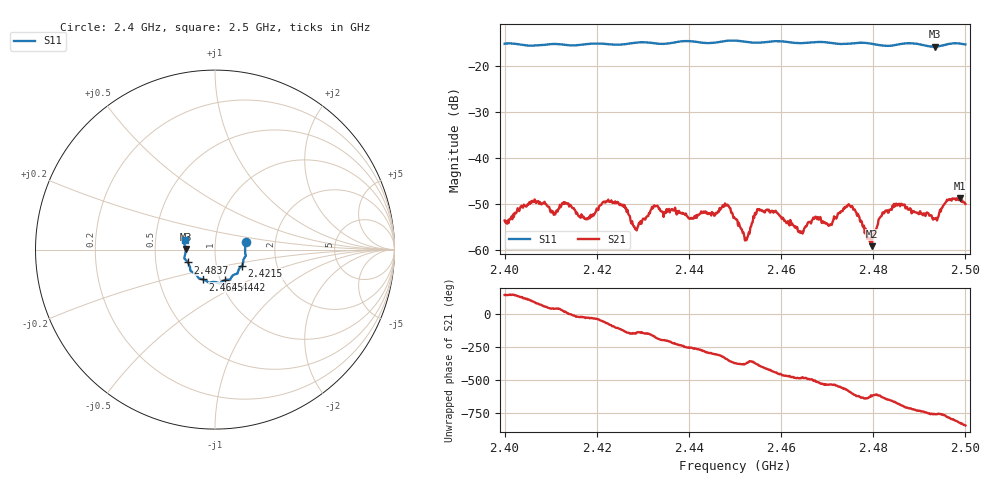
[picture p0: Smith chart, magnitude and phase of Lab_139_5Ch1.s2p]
# Hz S RI R 50
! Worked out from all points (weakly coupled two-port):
!   601 points, 2.4 GHz to 2.5 GHz, reference 50 ohm
!   highest |S21| = -48.78 dB at 2.4988 GHz (marker M1); lowest = -59.3 dB at 2.4797 GHz (marker M2)
!   lowest |S11| = -15.7 dB at 2.4933 GHz (marker M3), VSWR 1.39, Z = 35.9 + j0.0956 ohm
!   |S11| at or under -10 dB: start of sweep to end of sweep
!   S12 and S22 are empty: the file has one direction only
!   S11 on the Smith chart (normalised r, x): 2.4 GHz: 1.41, +0.12; 2.4215 GHz: 1.33, -0.25; 2.4442 GHz: 1.05, -0.37; 2.4645 GHz: 0.83, -0.29; 2.4837 GHz: 0.73, -0.11; 2.5 GHz: 0.71, +0.07
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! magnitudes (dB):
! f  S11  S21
! 2.4 GHz  -15.1  -53.7
! 2.4062 GHz  -15.5  -49.5
! 2.4167 GHz  -15.3  -52.3
! 2.4215 GHz  -15.1  -49.5
! 2.4258 GHz  -15.2  -50.7
! 2.4285 GHz  -14.9  -55.5
! 2.4333 GHz  -15.1  -50.7
! 2.4442 GHz  -15.0  -52.3
! 2.4482 GHz  -14.5  -50.4
! 2.45 GHz  -14.4  -53.2
! 2.4523 GHz  -14.7  -57.6
! 2.4553 GHz  -14.9  -51.5
! 2.4645 GHz  -15.0  -56.1
! 2.4667 GHz  -14.8  -53.7
! 2.4707 GHz  -14.9  -54.7
! 2.475 GHz  -15.1  -50.5
! 2.4797 GHz  -15.1  -59.3
! 2.4833 GHz  -15.6  -51.9
! 2.4837 GHz  -15.5  -51.3
! 2.4933 GHz  -15.7  -53.2
! 2.4988 GHz  -15.1  -48.8
! 2.5 GHz  -15.3  -50.1
